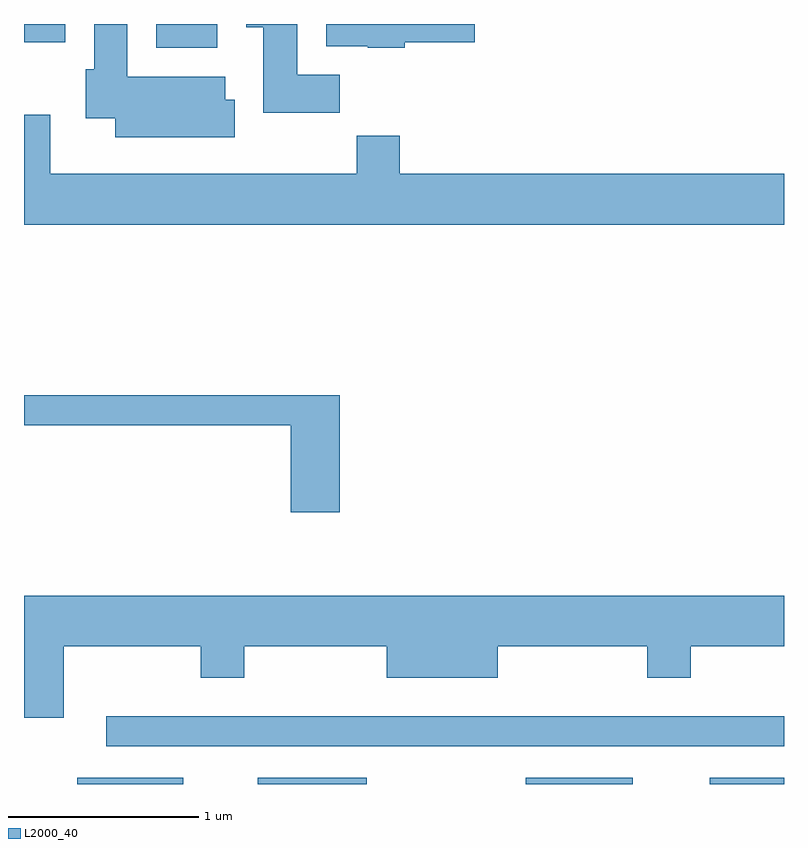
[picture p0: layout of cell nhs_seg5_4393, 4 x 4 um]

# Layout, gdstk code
import gdstk
lib = gdstk.Library(unit=1e-6, precision=1e-09)
def R(c, l, rs):  # rectangles x0, y0, x1, y1
    for r in rs: c.add(gdstk.rectangle(r[:2], r[2:], *l))
def P(c, l, *ps):  # polygons
    for p in ps: c.add(gdstk.Polygon(p, *l))
L2000_40 = (2000, 40)

nhs_seg5_4393 = lib.new_cell('nhs_seg5_4393')
R(nhs_seg5_4393, L2000_40, [(315.891,1456.072,316.449,1456.104), (316.841,1456.072,317.414,1456.104), (318.251,1456.072,318.814,1456.104), (319.221,1456.072,319.611,1456.104), (316.043,1456.271,319.611,1456.429), (316.306,1459.946,316.629,1460.072), (315.611,1459.976,315.829,1460.072)])
P(nhs_seg5_4393, L2000_40, [(317.614,1459.976),(317.984,1459.976),(317.984,1460.072),(317.201,1460.072),(317.201,1459.956),(317.42,1459.956),(317.42,1459.946),(317.614,1459.946)],
  [(317.274,1459.804),(317.049,1459.804),(317.049,1460.072),(316.781,1460.072),(316.781,1460.056),(316.871,1460.056),(316.871,1459.606),(317.274,1459.606)],
  [(316.719,1459.674),(316.669,1459.674),(316.669,1459.794),(316.154,1459.794),(316.154,1460.072),(315.981,1460.072),(315.981,1459.834),(315.936,1459.834),(315.936,1459.576),(316.091,1459.576),(316.091,1459.476),(316.719,1459.476)],
  [(319.611,1459.284),(317.589,1459.284),(317.589,1459.484),(317.361,1459.484),(317.361,1459.284),(315.749,1459.284),(315.749,1459.594),(315.611,1459.594),(315.611,1459.016),(319.611,1459.016)],
  [(317.274,1458.119),(315.611,1458.119),(315.611,1457.961),(317.016,1457.961),(317.016,1457.501),(317.274,1457.501)],
  [(315.819,1456.796),(316.541,1456.796),(316.541,1456.631),(316.769,1456.631),(316.769,1456.796),(317.521,1456.796),(317.521,1456.631),(318.104,1456.631),(318.104,1456.796),(318.891,1456.796),(318.891,1456.631),(319.119,1456.631),(319.119,1456.796),(319.611,1456.796),(319.611,1457.064),(315.611,1457.064),(315.611,1456.421),(315.819,1456.421)])

lib.write_gds('nhs_seg5_4393.gds')
